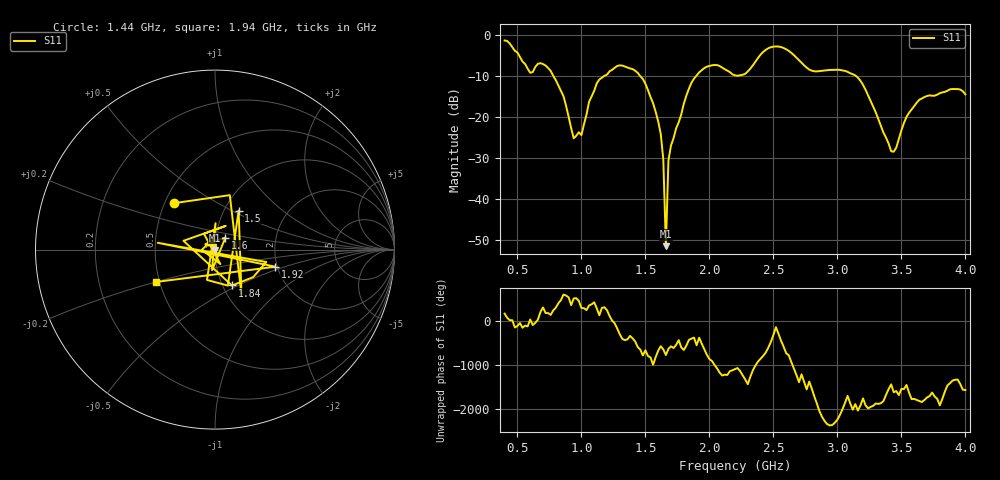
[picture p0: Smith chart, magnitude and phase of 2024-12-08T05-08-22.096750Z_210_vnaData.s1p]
!Created with skrf (http://scikit-rf.org).
# Hz S RI R 50.0
!freq ReS11 ImS11
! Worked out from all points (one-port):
!   181 points, 400 MHz to 4 GHz, reference 50 ohm
!   lowest |S11| = -51.5 dB at 1.66 GHz (marker M1), VSWR 1.01, Z = 50.2 - j0.202 ohm
!   |S11| at or under -10 dB: 780.5 MHz to 1.178 GHz (397.8 MHz wide, 40.6 % of centre); 1.459 GHz to 1.896 GHz (437.7 MHz wide, 26.1 % of centre); 3.146 GHz to end of sweep
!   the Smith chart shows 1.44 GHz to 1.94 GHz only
!   S11 on the Smith chart (normalised r, x): 1.44 GHz: 0.56, +0.33; 1.5 GHz: 1.17, +0.54; 1.6 GHz: 1.11, +0.15; 1.84 GHz: 1.11, -0.47; 1.92 GHz: 1.95, -0.42; 1.94 GHz: 0.48, -0.20
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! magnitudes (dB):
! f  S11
! 400 MHz  -1.3
! 600 MHz  -9.2
! 720 MHz  -7.4
! 860 MHz  -14.9
! 940 MHz  -25.2
! 1 GHz  -24.4
! 1.12 GHz  -11.8
! 1.3 GHz  -7.4
! 1.44 GHz  -9.2
! 1.5 GHz  -11.9
! 1.6 GHz  -21.1
! 1.64 GHz  -30.4
! 1.66 GHz  -51.5
! 1.68 GHz  -30.6
! 1.76 GHz  -21.3
! 1.84 GHz  -13.1
! 1.92 GHz  -9.1
! 1.94 GHz  -8.6
! 2.2 GHz  -9.8
! 2.48 GHz  -3.0
! 2.66 GHz  -4.9
! 2.8 GHz  -8.7
! 3.1 GHz  -9.3
! 3.2 GHz  -12.2
! 3.42 GHz  -28.4
! 3.56 GHz  -19.0
! 3.7 GHz  -14.9
! 4 GHz  -14.5
